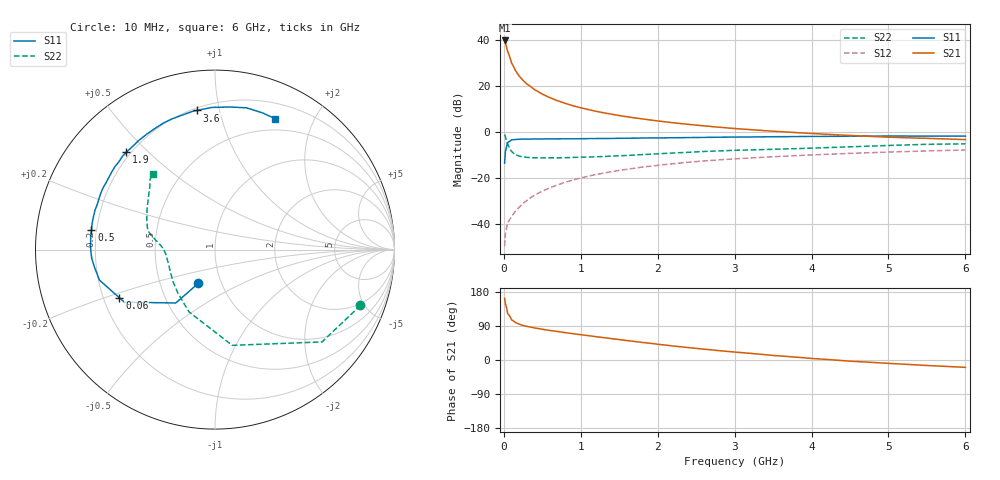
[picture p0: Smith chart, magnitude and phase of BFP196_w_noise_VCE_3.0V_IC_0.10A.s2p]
! Infineon Technologies  Discrete & RF Semiconductors
! BFP196
! VCE =  3.0 V,  IC = 0.10 A
! Common Emitter S-Parameters:  Jan 2017
# GHz  S  MA  R  50
!  f  S11  S21  S12  S22
! GHz  MAG  ANG  MAG  ANG  MAG  ANG  MAG  ANG
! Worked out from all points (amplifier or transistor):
!   77 points, 10 MHz to 6 GHz, reference 50 ohm
!   highest |S21| = 39.6 dB at 10 MHz (marker M1)
!   |S21| within 3 dB of that: start of sweep to 35.96 MHz
!   unconditionally stable (mu >= 1): 359.1 MHz to 2.509 GHz
!   at 130 MHz: K = 0.80, MSG = 31.7 dB, |S12| = -35.4 dB
!   at 2.2 GHz: K = 1.01, MAG = 8.3 dB, |S12| = -13.9 dB
!   at 6 GHz: K = 0.97, MSG = 2.3 dB, |S12| = -7.9 dB
!   lowest NFmin = 2.04 dB at 450 MHz
!   S11 on the Smith chart (normalised r, x): 10 MHz: 0.78, -0.30; 60 MHz: 0.27, -0.22; 500 MHz: 0.18, +0.08; 1.9 GHz: 0.18, +0.43; 3.6 GHz: 0.21, +0.85; 6 GHz: 0.36, +1.50
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0.01  0.2084 -116.2  95.44 162.9  0.0033 80.2  0.8683 -21.0
0.02  0.3691 -126.3  85.93 148.4  0.006 71.2  0.7873 -40.8
0.05  0.5838 -149.9  54.74 122.2  0.0105 56.0  0.542 -79.8
0.06  0.5966 -153.3  49.8 120.2  0.0113 57.0  0.4985 -84.5
0.1  0.666 -165.2  31.15 105.8  0.0143 60.0  0.3763 -112.6
0.15  0.6796 -172.1  21.29 98.9  0.0188 62.0  0.3197 -130.1
0.2  0.6885 -176.0  16.12 94.4  0.023 67.0  0.2968 -141.0
0.25  0.6918 -179.2  12.94 91.1  0.028 68.0  0.2842 -148.2
0.3  0.6934 178.4  10.82 88.7  0.0324 68.9  0.2777 -153.9
0.4  0.6963 174.3  8.17 84.5  0.042 71.1  0.272 -160.8
0.5  0.6973 170.8  6.536 81.1  0.0515 71.2  0.2709 -165.5
0.7  0.7012 164.9  4.696 75.2  0.0706 70.2  0.2719 -172.1
0.9  0.7026 159.0  3.658 69.4  0.0897 68.2  0.2772 -175.7
1.1  0.7101 153.5  3.02 64.2  0.109 66.0  0.2833 -179.2
1.5  0.7203 142.8  2.243 53.9  0.1449 60.5  0.3014 175.9
1.9  0.7343 132.4  1.803 44.2  0.1788 54.5  0.3255 172.1
2.1  0.7375 127.3  1.64 39.4  0.1947 51.4  0.3389 170.4
3.1  0.768 106.3  1.143 19.3  0.2636 37.0  0.3996 160.8
3.6  0.7817 97.5  1.004 10.6  0.2921 30.7  0.4207 154.6
4.1  0.7926 89.8  0.899 2.8  0.3187 24.5  0.4466 147.6
5.1  0.8078 76.2  0.753 -10.0  0.3665 12.6  0.5094 135.4
6  0.803 65.3  0.676 -19.4  0.4021 2.6  0.5467 129.2
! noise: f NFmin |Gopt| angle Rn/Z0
0.45  2.04  0.54  -169  0.07
0.9  2.24  0.56  -156  0.12
1.9  3.18  0.71  -128  0.52
2.4  3.65  0.7  -115  1.08
